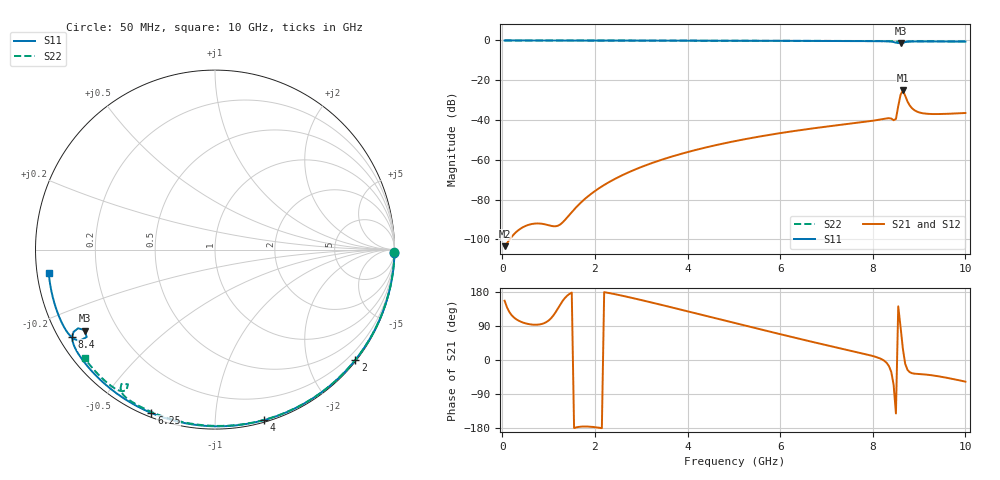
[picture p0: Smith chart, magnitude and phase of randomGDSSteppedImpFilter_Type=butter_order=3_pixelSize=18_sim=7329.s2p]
! freq	dB(S11)	phase(S11)	dB(S12)	phase(S12)
!  dB(S21)	phase(S21)	dB(S22)	phase(S22)
!S-par simulation data
#  GHz  S  DB  R 50
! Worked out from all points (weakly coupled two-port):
!   200 points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, 50 MHz to 10 GHz, reference 50 ohm
!   highest |S21| = -25.12 dB at 8.65 GHz (marker M1); lowest = -103.4 dB at 50 MHz (marker M2)
!   lowest |S11| = -1.4 dB at 8.6 GHz (marker M3), VSWR 12.82, Z = 4.22 - j14.2 ohm
!   |S11| at or under -10 dB: nowhere
!   |S22| runs from -1.0 to 0.0 dB; largest |S21 - S12| = 0
!   S11 on the Smith chart (normalised r, x): 50 MHz: open; 2 GHz: 0.03, -2.89; 4 GHz: 0.02, -1.33; 6.25 GHz: 0.02, -0.68; 8.4 GHz: 0.04, -0.28; 10 GHz: 0.03, -0.07
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0.05  -0.00 -1.0  -103.43 156.4  -103.43 156.4  -0.00 -0.8
0.85  -0.02 -16.4  -92.15 95.0  -92.15 95.0  -0.02 -13.8
1.75  -0.04 -33.5  -80.37 -175.5  -80.37 -175.5  -0.04 -28.0
2  -0.05 -38.2  -75.73 -177.3  -75.73 -177.3  -0.04 -31.9
2.6  -0.06 -49.2  -67.65 169.4  -67.65 169.4  -0.05 -41.2
3.4  -0.08 -63.5  -60.29 146.5  -60.29 146.5  -0.07 -53.3
4  -0.10 -74.0  -56.13 128.6  -56.13 128.6  -0.09 -62.1
5.05  -0.14 -91.7  -50.49 96.7  -50.49 96.7  -0.12 -77.0
6.25  -0.20 -111.3  -45.71 60.8  -45.71 60.8  -0.17 -93.3
6.7  -0.23 -118.5  -44.23 47.6  -44.23 47.6  -0.19 -99.2
7.75  -0.32 -135.6  -41.15 18.0  -41.15 18.0  -0.26 -112.8
8.35  -0.50 -147.2  -39.09 -16.2  -39.09 -16.2  -0.34 -121.1
8.4  -0.60 -148.5  -39.26 -31.8  -39.26 -31.8  -0.36 -121.9
8.45  -0.80 -149.8  -40.10 -65.2  -40.10 -65.2  -0.41 -122.8
8.5  -1.11 -150.1  -39.49 -141.1  -39.49 -141.1  -0.49 -123.6
8.6  -1.36 -148.1  -27.31 87.4  -27.31 87.4  -0.80 -124.9
8.65  -1.26 -145.7  -25.12 29.5  -25.12 29.5  -0.98 -122.9
8.8  -0.55 -149.2  -32.76 -32.3  -32.76 -32.3  -0.45 -124.1
8.9  -0.50 -151.6  -35.08 -36.1  -35.08 -36.1  -0.41 -125.8
9  -0.49 -153.6  -36.15 -37.0  -36.15 -37.0  -0.40 -127.3
9.3  -0.50 -159.3  -37.00 -40.7  -37.00 -40.7  -0.41 -131.3
10  -0.58 -172.1  -36.47 -57.2  -36.47 -57.2  -0.49 -140.1
